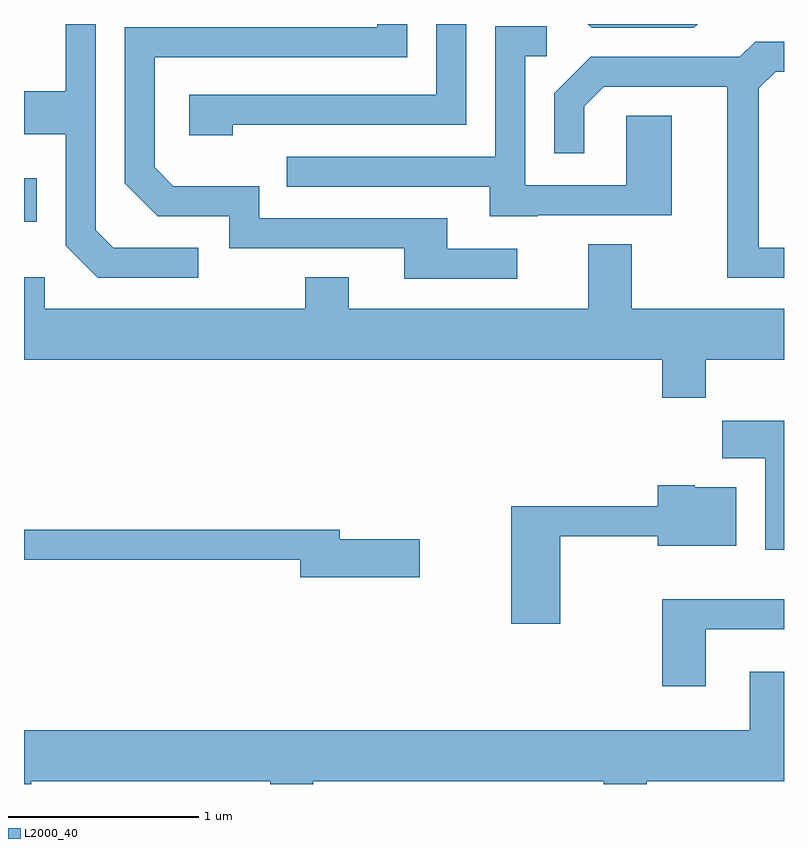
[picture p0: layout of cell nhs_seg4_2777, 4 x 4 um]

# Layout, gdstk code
import gdstk
lib = gdstk.Library(unit=1e-6, precision=1e-09)
def R(c, l, rs):  # rectangles x0, y0, x1, y1
    for r in rs: c.add(gdstk.rectangle(r[:2], r[2:], *l))
def P(c, l, *ps):  # polygons
    for p in ps: c.add(gdstk.Polygon(p, *l))
L2000_40 = (2000, 40)

nhs_seg4_2777 = lib.new_cell('nhs_seg4_2777')
R(nhs_seg4_2777, L2000_40, [(265.611,1370.941,265.679,1371.169)])
P(nhs_seg4_2777, L2000_40, [(266.528,1370.804),(266.082,1370.804),(265.989,1370.897),(265.989,1371.982),(265.831,1371.982),(265.831,1371.629),(265.611,1371.629),(265.611,1371.401),(265.831,1371.401),(265.831,1370.814),(265.999,1370.646),(266.528,1370.646)],
  [(268.208,1370.799),(267.839,1370.799),(267.839,1370.959),(266.849,1370.959),(266.849,1371.129),(266.397,1371.129),(266.299,1371.227),(266.299,1371.806),(267.629,1371.806),(267.629,1371.982),(267.471,1371.982),(267.471,1371.964),(266.141,1371.964),(266.141,1371.144),(266.314,1370.971),(266.691,1370.971),(266.691,1370.801),(267.611,1370.801),(267.611,1370.641),(268.208,1370.641)],
  [(266.709,1371.451),(267.939,1371.451),(267.939,1371.982),(267.781,1371.982),(267.781,1371.609),(266.481,1371.609),(266.481,1371.396),(266.709,1371.396)],
  [(269.158,1371.982),(268.578,1371.982),(268.599,1371.961),(269.137,1371.961)],
  [(268.315,1370.976),(269.019,1370.976),(269.019,1371.499),(268.781,1371.499),(268.781,1371.134),(268.249,1371.134),(268.249,1371.811),(268.363,1371.811),(268.363,1371.969),(268.091,1371.969),(268.091,1371.284),(266.993,1371.284),(266.993,1371.126),(268.061,1371.126),(268.061,1370.971),(268.315,1370.971)],
  [(269.611,1370.804),(269.479,1370.804),(269.479,1371.644),(269.567,1371.731),(269.611,1371.731),(269.611,1371.889),(269.459,1371.889),(269.379,1371.809),(268.594,1371.809),(268.401,1371.617),(268.401,1371.303),(268.559,1371.303),(268.559,1371.549),(268.662,1371.651),(269.311,1371.651),(269.311,1370.646),(269.611,1370.646)],
  [(269.199,1370.216),(269.611,1370.216),(269.611,1370.484),(268.809,1370.484),(268.809,1370.824),(268.581,1370.824),(268.581,1370.484),(267.319,1370.484),(267.319,1370.649),(267.091,1370.649),(267.091,1370.484),(265.719,1370.484),(265.719,1370.649),(265.611,1370.649),(265.611,1370.216),(268.971,1370.216),(268.971,1370.016),(269.199,1370.016)],
  [(269.611,1369.894),(269.286,1369.894),(269.286,1369.696),(269.511,1369.696),(269.511,1369.216),(269.611,1369.216)],
  [(268.434,1369.286),(268.946,1369.286),(268.946,1369.236),(269.359,1369.236),(269.359,1369.544),(269.14,1369.544),(269.14,1369.554),(268.946,1369.554),(268.946,1369.444),(268.176,1369.444),(268.176,1368.826),(268.434,1368.826)],
  [(267.694,1369.269),(267.274,1369.269),(267.274,1369.319),(265.611,1369.319),(265.611,1369.161),(267.066,1369.161),(267.066,1369.071),(267.694,1369.071)],
  [(269.199,1368.796),(269.611,1368.796),(269.611,1368.954),(268.971,1368.954),(268.971,1368.496),(269.199,1368.496)],
  [(265.649,1367.996),(266.906,1367.996),(266.906,1367.982),(267.134,1367.982),(267.134,1367.996),(268.661,1367.996),(268.661,1367.982),(268.889,1367.982),(268.889,1367.996),(269.611,1367.996),(269.611,1368.574),(269.431,1368.574),(269.431,1368.264),(265.611,1368.264),(265.611,1367.982),(265.649,1367.982)])

lib.write_gds('nhs_seg4_2777.gds')
